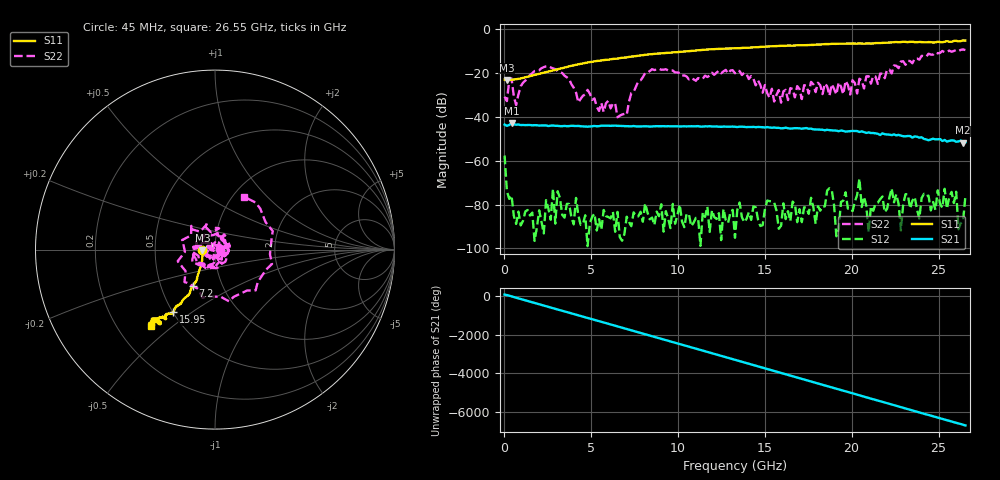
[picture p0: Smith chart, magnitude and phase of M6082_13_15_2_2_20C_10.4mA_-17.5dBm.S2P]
!  2-Port S-parameters saved by WinCal
! VAR MeasName=S-Parameters (CALIBRATED_DATA) read from VNA (C)
! VAR MeasDate=10/16/2015 12:52:01 PM
! VAR NAME=M6082_13_15_2_2_20C_10.4mA_-17.5dBm
! VAR FILENAME=M6082_13_15_2_2_20C_10.4mA_-17.5dBm.S2P
! VAR DATE=10/16/2015 12:52:01 PM
! VAR PHYS_PORTS=2,1
! VAR ObjTypeName=DATASET
! VAR IndexType=Frequency
# Hz S RI R 50
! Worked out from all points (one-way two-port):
!   201 points, 45 MHz to 26.55 GHz, reference 50 ohm
!   highest |S21| = -42.75 dB at 442.5 MHz (marker M1); lowest = -51.7 dB at 26.41 GHz (marker M2)
!   lowest |S11| = -23.1 dB at 177.5 MHz (marker M3), VSWR 1.15, Z = 43.5 - j0.36 ohm
!   |S11| at or under -10 dB: start of sweep to 10.59 GHz
!   |S22| runs from -40.2 to -9.2 dB; largest |S21 - S12| = 0.0072
!   S11 on the Smith chart (normalised r, x): 45 MHz: 0.87, -0.00; 7.2 GHz: 0.73, -0.31; 15.95 GHz: 0.50, -0.43; 26.55 GHz: 0.34, -0.42
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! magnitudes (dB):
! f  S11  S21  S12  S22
! 45 MHz  -23.0  -43.5  -57.6  -30.8
! 177.5 MHz  -23.1  -44.0  -73.9  -32.8
! 442.5 MHz  -23.0  -42.8  -75.8  -22.4
! 707.5 MHz  -22.8  -43.5  -88.8  -34.5
! 2.43 GHz  -19.5  -43.9  -78.0  -16.9
! 4.55 GHz  -15.6  -44.3  -88.8  -30.3
! 6.537 GHz  -13.4  -44.1  -83.3  -40.2
! 7.2 GHz  -12.6  -44.3  -88.0  -32.9
! 8.922 GHz  -11.0  -44.2  -85.3  -18.0
! 13.29 GHz  -8.6  -44.5  -95.2  -20.1
! 15.95 GHz  -7.5  -45.2  -89.7  -33.5
! 17.8 GHz  -7.1  -45.7  -81.1  -25.1
! 18.73 GHz  -6.7  -46.0  -72.5  -30.3
! 20.05 GHz  -6.5  -46.4  -83.0  -23.3
! 20.32 GHz  -6.5  -46.5  -75.6  -29.3
! 20.45 GHz  -6.4  -46.8  -68.2  -22.5
! 20.58 GHz  -6.5  -46.6  -81.1  -23.3
! 22.17 GHz  -6.0  -48.1  -76.9  -18.4
! 25.22 GHz  -5.9  -51.0  -81.4  -9.9
! 25.35 GHz  -5.6  -50.5  -72.8  -10.5
! 26.41 GHz  -5.1  -51.7  -87.4  -9.2
! 26.55 GHz  -5.1  -51.5  -76.1  -9.5
